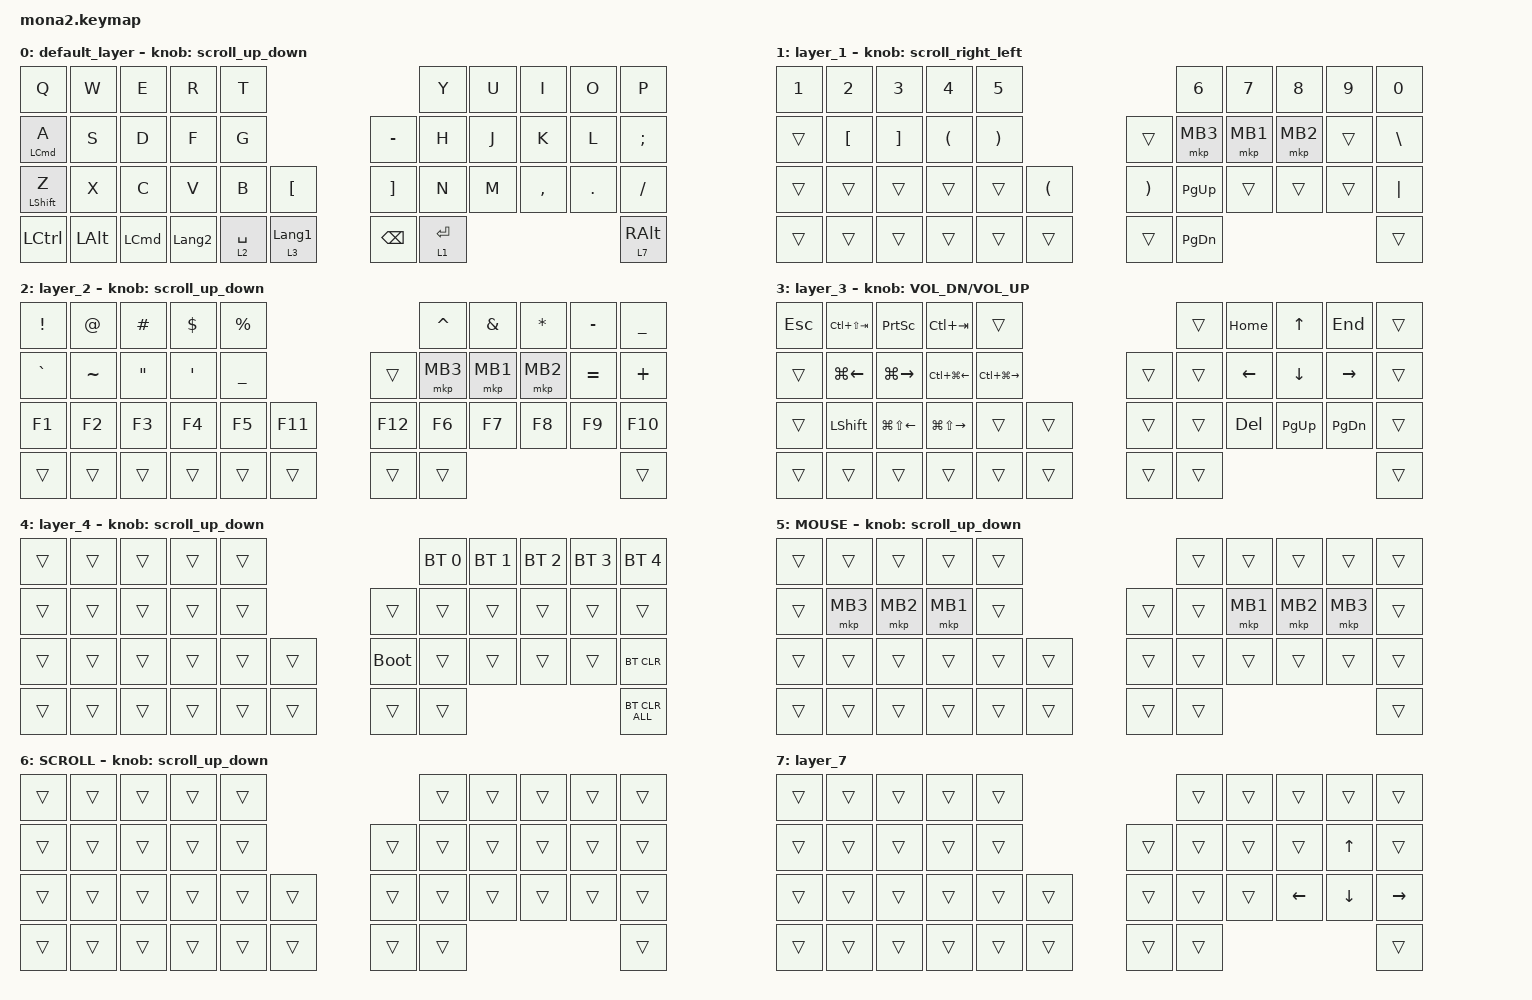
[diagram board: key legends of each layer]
#include <input/processors.dtsi>
#include <dt-bindings/zmk/input_transform.h>
#include <zephyr/dt-bindings/input/input-event-codes.h>
#include <behaviors.dtsi>
#include <dt-bindings/zmk/bt.h>
#include <dt-bindings/zmk/keys.h>
#include <dt-bindings/zmk/pointing.h>

#define ZMK_POINTING_DEFAULT_SCRL_VAL 100
#define MOUSE 5
#define SCROLL 6

&mt {
    flavor = "balanced";
    quick-tap-ms = <0>;
};

&lt {
    quick-tap-ms = <300>;
    flavor = "balanced";
};

/ {
    combos {
        compatible = "zmk,combos";

        layer4_ESC {
            bindings = <&lt 4 ESC>;
            key-positions = <39 38>;
        };

        tab {
            bindings = <&kp TAB>;
            key-positions = <11 12>;
        };

        shift_tab {
            bindings = <&kp LS(TAB)>;
            key-positions = <12 13>;
        };

        double_quotation {
            bindings = <&kp DOUBLE_QUOTES>;
            key-positions = <18 19>;
        };

        eq {
            bindings = <&kp EQUAL>;
            key-positions = <8 9>;
        };

        single_quote {
            bindings = <&kp SINGLE_QUOTE>;
            key-positions = <19 20>;
        };

        minus {
            bindings = <&kp MINUS>;
            key-positions = <7 8>;
        };
    };

    macros {
        to_layer_0: to_layer_0 {
            compatible = "zmk,behavior-macro-one-param";
            #binding-cells = <1>;
            bindings = <&to 0 &macro_param_1to1 &kp MACRO_PLACEHOLDER>;
            label = "TO_LAYER_0";
        };
    };

    behaviors {
        lt_to_layer_0: lt_to_layer_0 {
            compatible = "zmk,behavior-hold-tap";
            label = "LAYER_TAP_TO_0";
            bindings = <&mo>, <&to_layer_0>;

            #binding-cells = <2>;
            tapping-term-ms = <200>;
        };

        scroll_up_down: mouse_wheel_up_down {
            compatible = "zmk,behavior-sensor-rotate";
            #sensor-binding-cells = <0>;
            bindings = <&msc SCRL_DOWN>, <&msc SCRL_UP>;

            tap-ms = <20>;
        };

        scroll_right_left: mouse_wheel_right_left {
            compatible = "zmk,behavior-sensor-rotate";
            #sensor-binding-cells = <0>;
            bindings = <&msc SCRL_LEFT>, <&msc SCRL_RIGHT>;

            tap-ms = <20>;
        };
    };

    keymap {
        compatible = "zmk,keymap";

        default_layer {
            bindings = <
&kp Q               &kp W         &kp E             &kp R           &kp T                                                          &kp Y        &kp U  &kp I      &kp O    &kp P
&mt LEFT_COMMAND A  &kp S         &kp D             &kp F           &kp G                                       &kp MINUS          &kp H        &kp J  &kp K      &kp L    &kp SEMICOLON
&mt LEFT_SHIFT Z    &kp X         &kp C             &kp V           &kp B        &kp LEFT_BRACKET               &kp RIGHT_BRACKET  &kp N        &kp M  &kp COMMA  &kp DOT  &kp SLASH
&kp LCTRL           &kp LEFT_ALT  &kp LEFT_COMMAND  &kp LANGUAGE_2  &lt 2 SPACE  &lt_to_layer_0 3 LANGUAGE_1    &kp BACKSPACE      &lt 1 ENTER                             &lt 7 RALT
            >;

            sensor-bindings = <&scroll_up_down>;
        };

        layer_1 {
            bindings = <
&kp NUMBER_1  &kp NUMBER_2      &kp NUMBER_3       &kp NUMBER_4          &kp NUMBER_5                                                          &kp NUMBER_6   &kp NUMBER_7  &kp NUMBER_8  &kp NUMBER_9  &kp NUMBER_0
&trans        &kp LEFT_BRACKET  &kp RIGHT_BRACKET  &kp LEFT_PARENTHESIS  &kp RIGHT_PARENTHESIS                          &trans                 &mkp MB3       &mkp MB1      &mkp MB2      &trans        &kp BACKSLASH
&trans        &trans            &trans             &trans                &trans                 &kp LEFT_PARENTHESIS    &kp RIGHT_PARENTHESIS  &kp PAGE_UP    &trans        &trans        &trans        &kp PIPE
&trans        &trans            &trans             &trans                &trans                 &trans                  &trans                 &kp PAGE_DOWN                                            &trans
            >;

            sensor-bindings = <&scroll_right_left>;
        };

        layer_2 {
            bindings = <
&kp EXCLAMATION  &kp AT_SIGN  &kp POUND          &kp DOLLAR  &kp PERCENT                         &kp CARET  &kp AMPERSAND  &kp ASTERISK  &kp MINUS  &kp UNDERSCORE
&kp GRAVE        &kp TILDE    &kp DOUBLE_QUOTES  &kp SQT     &kp UNDERSCORE             &trans   &mkp MB3   &mkp MB1       &mkp MB2      &kp EQUAL  &kp PLUS
&kp F1           &kp F2       &kp F3             &kp F4      &kp F5          &kp F11    &kp F12  &kp F6     &kp F7         &kp F8        &kp F9     &kp F10
&trans           &trans       &trans             &trans      &trans          &trans     &trans   &trans                                             &trans
            >;

            sensor-bindings = <&scroll_up_down>;
        };

        layer_3 {
            bindings = <
&kp ESCAPE  &kp LC(LS(TAB))     &kp PRINTSCREEN         &kp LC(TAB)              &trans                                     &trans  &kp HOME        &kp UP_ARROW    &kp END          &trans
&trans      &kp LG(LEFT_ARROW)  &kp LG(RIGHT_ARROW)     &kp LC(LG(LEFT_ARROW))   &kp LC(LG(RIGHT_ARROW))            &trans  &trans  &kp LEFT_ARROW  &kp DOWN_ARROW  &kp RIGHT_ARROW  &trans
&trans      &kp LEFT_SHIFT      &kp LG(LS(LEFT_ARROW))  &kp LG(LS(RIGHT_ARROW))  &trans                   &trans    &trans  &trans  &kp DELETE      &kp PAGE_UP     &kp PAGE_DOWN    &trans
&trans      &trans              &trans                  &trans                   &trans                   &trans    &trans  &trans                                                   &trans
            >;

            sensor-bindings = <&inc_dec_kp C_VOL_DN C_VOL_UP>;
        };

        layer_4 {
            bindings = <
&trans  &trans  &trans  &trans  &trans                         &bt BT_SEL 0  &bt BT_SEL 1  &bt BT_SEL 2  &bt BT_SEL 3  &bt BT_SEL 4
&trans  &trans  &trans  &trans  &trans            &trans       &trans        &trans        &trans        &trans        &trans
&trans  &trans  &trans  &trans  &trans  &trans    &bootloader  &trans        &trans        &trans        &trans        &bt BT_CLR
&trans  &trans  &trans  &trans  &trans  &trans    &trans       &trans                                                  &bt BT_CLR_ALL
            >;

            sensor-bindings = <&scroll_up_down>;
        };

        MOUSE {
            bindings = <
&trans  &trans    &trans    &trans    &trans                    &trans  &trans    &trans    &trans    &trans
&trans  &mkp MB3  &mkp MB2  &mkp MB1  &trans            &trans  &trans  &mkp MB1  &mkp MB2  &mkp MB3  &trans
&trans  &trans    &trans    &trans    &trans  &trans    &trans  &trans  &trans    &trans    &trans    &trans
&trans  &trans    &trans    &trans    &trans  &trans    &trans  &trans                                &trans
            >;

            sensor-bindings = <&scroll_up_down>;
        };

        SCROLL {
            bindings = <
&trans  &trans  &trans  &trans  &trans                    &trans  &trans  &trans  &trans  &trans
&trans  &trans  &trans  &trans  &trans            &trans  &trans  &trans  &trans  &trans  &trans
&trans  &trans  &trans  &trans  &trans  &trans    &trans  &trans  &trans  &trans  &trans  &trans
&trans  &trans  &trans  &trans  &trans  &trans    &trans  &trans                          &trans
            >;

            sensor-bindings = <&scroll_up_down>;
        };

        layer_7 {
            bindings = <
&trans  &trans  &trans  &trans  &trans                    &trans  &trans  &trans          &trans          &trans
&trans  &trans  &trans  &trans  &trans            &trans  &trans  &trans  &trans          &kp UP_ARROW    &trans
&trans  &trans  &trans  &trans  &trans  &trans    &trans  &trans  &trans  &kp LEFT_ARROW  &kp DOWN_ARROW  &kp RIGHT_ARROW
&trans  &trans  &trans  &trans  &trans  &trans    &trans  &trans                                          &trans
            >;
        };
    };
};
